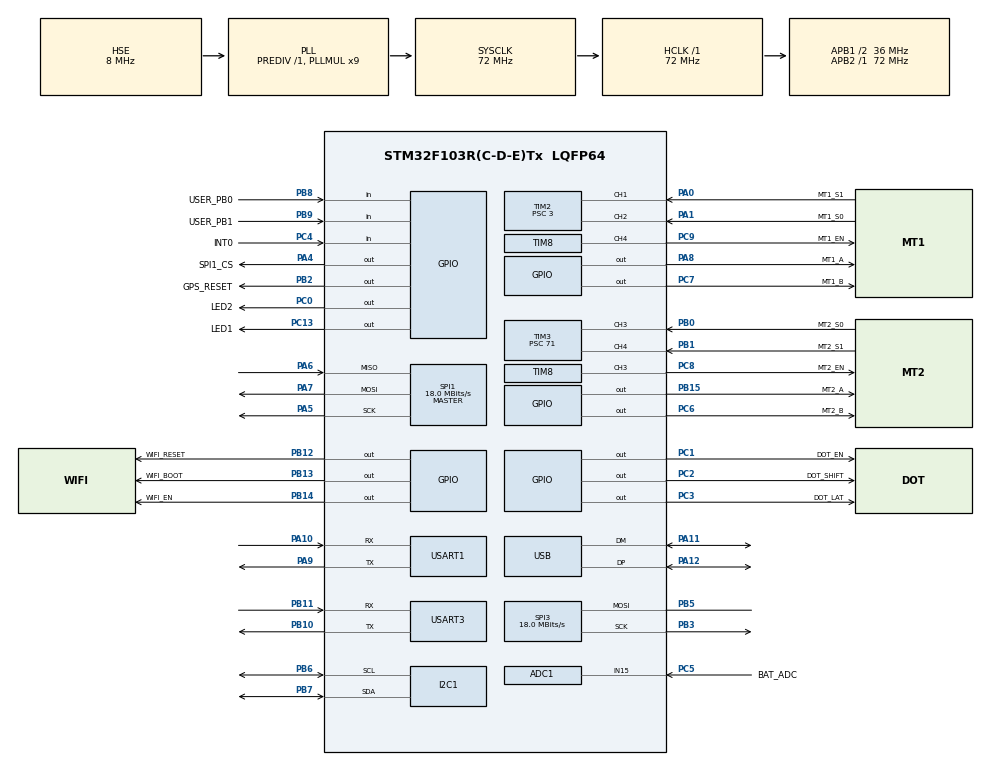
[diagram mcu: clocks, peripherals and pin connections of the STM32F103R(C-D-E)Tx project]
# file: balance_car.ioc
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ADC1.Channel-0\#ChannelRegularConversion=ADC_CHANNEL_15
ADC1.ContinuousConvMode=DISABLE
ADC1.DataAlign=ADC_DATAALIGN_RIGHT
ADC1.DiscontinuousConvMode=DISABLE
ADC1.EnableAnalogWatchDog=false
ADC1.EnableRegularConversion=ENABLE
ADC1.ExternalTrigConv=ADC_SOFTWARE_START
ADC1.InjNumberOfConversion=0
ADC1.NbrOfConversion=1
ADC1.NbrOfConversionFlag=1
ADC1.Rank-0\#ChannelRegularConversion=1
ADC1.SamplingTime-0\#ChannelRegularConversion=ADC_SAMPLETIME_1CYCLE_5
ADC1.ScanConvMode=ADC_SCAN_DISABLE
ADC1.master=1
Dma.Request0=USART1_RX
Dma.Request1=USART3_RX
Dma.Request2=USART1_TX
Dma.Request3=USART3_TX
Dma.USART1_RX.0.Direction=DMA_PERIPH_TO_MEMORY
Dma.USART1_RX.0.Instance=DMA1_Channel5
Dma.USART1_RX.0.MemDataAlignment=DMA_MDATAALIGN_BYTE
Dma.USART1_RX.0.MemInc=DMA_MINC_ENABLE
Dma.USART1_RX.0.Mode=DMA_NORMAL
Dma.USART1_RX.0.PeriphDataAlignment=DMA_PDATAALIGN_BYTE
Dma.USART1_RX.0.PeriphInc=DMA_PINC_DISABLE
Dma.USART1_RX.0.Priority=DMA_PRIORITY_LOW
Dma.USART1_TX.2.Direction=DMA_MEMORY_TO_PERIPH
Dma.USART1_TX.2.Instance=DMA1_Channel4
Dma.USART1_TX.2.MemDataAlignment=DMA_MDATAALIGN_BYTE
Dma.USART1_TX.2.MemInc=DMA_MINC_ENABLE
Dma.USART1_TX.2.Mode=DMA_NORMAL
Dma.USART1_TX.2.PeriphDataAlignment=DMA_PDATAALIGN_BYTE
Dma.USART1_TX.2.PeriphInc=DMA_PINC_DISABLE
Dma.USART1_TX.2.Priority=DMA_PRIORITY_LOW
Dma.USART3_RX.1.Direction=DMA_PERIPH_TO_MEMORY
Dma.USART3_RX.1.Instance=DMA1_Channel3
Dma.USART3_RX.1.MemDataAlignment=DMA_MDATAALIGN_BYTE
Dma.USART3_RX.1.MemInc=DMA_MINC_ENABLE
Dma.USART3_RX.1.Mode=DMA_NORMAL
Dma.USART3_RX.1.PeriphDataAlignment=DMA_PDATAALIGN_BYTE
Dma.USART3_RX.1.PeriphInc=DMA_PINC_DISABLE
Dma.USART3_RX.1.Priority=DMA_PRIORITY_LOW
Dma.USART3_TX.3.Direction=DMA_MEMORY_TO_PERIPH
Dma.USART3_TX.3.Instance=DMA1_Channel2
Dma.USART3_TX.3.MemDataAlignment=DMA_MDATAALIGN_BYTE
Dma.USART3_TX.3.MemInc=DMA_MINC_ENABLE
Dma.USART3_TX.3.Mode=DMA_NORMAL
Dma.USART3_TX.3.PeriphDataAlignment=DMA_PDATAALIGN_BYTE
Dma.USART3_TX.3.PeriphInc=DMA_PINC_DISABLE
Dma.USART3_TX.3.Priority=DMA_PRIORITY_LOW
Mcu.Family=STM32F1
Mcu.Name=STM32F103R(C-D-E)Tx
Mcu.Package=LQFP64
NVIC.DMA1_Channel2_IRQn=true\:0\:0\:true\:false\:true\:false
NVIC.DMA1_Channel3_IRQn=true\:0\:0\:true\:false\:true\:false
NVIC.DMA1_Channel4_IRQn=true\:0\:0\:false\:false\:true\:false
NVIC.DMA1_Channel5_IRQn=true\:0\:0\:true\:false\:true\:false
NVIC.PriorityGroup=NVIC_PRIORITYGROUP_4
NVIC.TIM1_UP_IRQn=true\:0\:0\:false\:false\:true\:false
NVIC.TIM2_IRQn=true\:5\:0\:true\:false\:true\:true
NVIC.TIM3_IRQn=true\:5\:0\:true\:false\:true\:true
NVIC.TIM6_IRQn=true\:0\:0\:false\:false\:true\:true
NVIC.TimeBase=TIM1_UP_IRQn
NVIC.TimeBaseIP=TIM1
NVIC.USART1_IRQn=true\:6\:0\:true\:false\:true\:true
NVIC.USART3_IRQn=true\:6\:0\:true\:false\:true\:true
NVIC.USB_LP_CAN1_RX0_IRQn=true\:0\:0\:false\:false\:true\:false
PA0-WKUP.GPIO_Label=MT1_S1
PA0-WKUP.Signal=S_TIM2_CH1_ETR
PA1.GPIO_Label=MT1_S0
PA1.Signal=S_TIM2_CH2
PA10.Mode=Asynchronous
PA10.Signal=USART1_RX
PA11.Mode=Device
PA11.Signal=USB_DM
PA12.Mode=Device
PA12.Signal=USB_DP
PA13.Mode=Serial_Wire
PA13.Signal=SYS_JTMS-SWDIO
PA14.Mode=Serial_Wire
PA14.Signal=SYS_JTCK-SWCLK
PA4.GPIO_Label=SPI1_CS
PA4.PinState=GPIO_PIN_SET
PA4.Signal=GPIO_Output
PA5.Mode=Full_Duplex_Master
PA5.Signal=SPI1_SCK
PA6.Mode=Full_Duplex_Master
PA6.Signal=SPI1_MISO
PA7.Mode=Full_Duplex_Master
PA7.Signal=SPI1_MOSI
PA8.GPIO_Label=MT1_A
PA8.Signal=GPIO_Output
PA9.Mode=Asynchronous
PA9.Signal=USART1_TX
PB0.GPIO_Label=MT2_S0
PB0.Signal=S_TIM3_CH3
PB1.GPIO_Label=MT2_S1
PB1.Signal=S_TIM3_CH4
PB10.Mode=Asynchronous
PB10.Signal=USART3_TX
PB11.Mode=Asynchronous
PB11.Signal=USART3_RX
PB12.GPIO_Label=WIFI_RESET
PB12.Signal=GPIO_Output
PB13.GPIO_Label=WIFI_BOOT
PB13.Signal=GPIO_Output
PB14.GPIO_Label=WIFI_EN
PB14.Signal=GPIO_Output
PB15.GPIO_Label=MT2_A
PB15.Signal=GPIO_Output
PB2.GPIO_Label=GPS_RESET
PB2.Signal=GPIO_Output
PB3.Mode=Simplex_Bidirectional_Master
PB3.Signal=SPI3_SCK
PB5.Mode=Simplex_Bidirectional_Master
PB5.Signal=SPI3_MOSI
PB6.Mode=I2C
PB6.Signal=I2C1_SCL
PB7.Mode=I2C
PB7.Signal=I2C1_SDA
PB8.GPIO_Label=USER_PB0
PB8.Signal=GPIO_Input
PB9.GPIO_Label=USER_PB1
PB9.Signal=GPIO_Input
PC0.GPIO_Label=LED2
PC0.Signal=GPIO_Output
PC1.GPIO_Label=DOT_EN
PC1.Signal=GPIO_Output
PC13-TAMPER-RTC.GPIO_Label=LED1
PC13-TAMPER-RTC.Signal=GPIO_Output
PC2.GPIO_Label=DOT_SHIFT
PC2.Signal=GPIO_Output
PC3.GPIO_Label=DOT_LAT
PC3.Signal=GPIO_Output
PC4.GPIO_Label=INT0
PC4.Signal=GPIO_Input
PC5.GPIO_Label=BAT_ADC
PC5.Signal=ADCx_IN15
PC6.GPIO_Label=MT2_B
PC6.Signal=GPIO_Output
PC7.GPIO_Label=MT1_B
PC7.Signal=GPIO_Output
PC8.GPIO_Label=MT2_EN
PC8.Signal=S_TIM8_CH3
PC9.GPIO_Label=MT1_EN
PC9.Signal=S_TIM8_CH4
PD0-OSC_IN.Mode=HSE-External-Oscillator
PD0-OSC_IN.Signal=RCC_OSC_IN
PD1-OSC_OUT.Mode=HSE-External-Oscillator
PD1-OSC_OUT.Signal=RCC_OSC_OUT
ProjectManager.HeapSize=0x1000
ProjectManager.StackSize=0x1000
ProjectManager.TargetToolchain=MDK-ARM V5
RCC.ADCPresc=RCC_ADCPCLK2_DIV6
RCC.AHBFreq_Value=72000000
RCC.APB1CLKDivider=RCC_HCLK_DIV2
RCC.APB1Freq_Value=36000000
RCC.APB1TimFreq_Value=72000000
RCC.APB2Freq_Value=72000000
RCC.APB2TimFreq_Value=72000000
RCC.HCLKFreq_Value=72000000
RCC.PLLMUL=RCC_PLL_MUL9
RCC.PLLSourceVirtual=RCC_PLLSOURCE_HSE
RCC.SYSCLKFreq_VALUE=72000000
RCC.SYSCLKSource=RCC_SYSCLKSOURCE_PLLCLK
RCC.USBFreq_Value=48000000
RCC.USBPrescaler=RCC_USBCLKSOURCE_PLL_DIV1_5
SH.ADCx_IN15.0=ADC1_IN15,IN15
SH.S_TIM2_CH1_ETR.0=TIM2_CH1,Encoder_Interface
SH.S_TIM2_CH2.0=TIM2_CH2,Encoder_Interface
SH.S_TIM3_CH3.0=TIM3_CH3,Input_Capture3_from_TI3
SH.S_TIM3_CH4.0=TIM3_CH4,Input_Capture4_from_TI4
SH.S_TIM8_CH3.0=TIM8_CH3,PWM Generation3 CH3
SH.S_TIM8_CH4.0=TIM8_CH4,PWM Generation4 CH4
SPI1.BaudRatePrescaler=SPI_BAUDRATEPRESCALER_4
SPI1.CLKPhase=SPI_PHASE_2EDGE
SPI1.CLKPolarity=SPI_POLARITY_HIGH
SPI1.CRCCalculation=SPI_CRCCALCULATION_DISABLE
SPI1.CalculateBaudRate=18.0 MBits/s
SPI1.Direction=SPI_DIRECTION_2LINES
SPI1.Mode=SPI_MODE_MASTER
SPI1.VirtualType=VM_MASTER
SPI3.BaudRatePrescaler=SPI_BAUDRATEPRESCALER_2
SPI3.CalculateBaudRate=18.0 MBits/s
SPI3.Direction=SPI_DIRECTION_1LINE
SPI3.Mode=SPI_MODE_MASTER
SPI3.VirtualType=VM_MASTER
TIM2.AutoReloadPreload=TIM_AUTORELOAD_PRELOAD_DISABLE
TIM2.EncoderMode=TIM_ENCODERMODE_TI12
TIM2.IC1Filter=15
TIM2.IC2Filter=15
TIM2.Period=65535
TIM2.Prescaler=3
TIM2.TIM_MasterSlaveMode=TIM_MASTERSLAVEMODE_DISABLE
TIM3.Channel-Input_Capture3_from_TI3=TIM_CHANNEL_3
TIM3.Channel-Input_Capture4_from_TI4=TIM_CHANNEL_4
TIM3.ICFilter_CH3=0
TIM3.ICFilter_CH4=0
TIM3.Period=39999
TIM3.Prescaler=71
TIM6.Period=9
TIM6.Prescaler=7199
TIM8.AutoReloadPreload=TIM_AUTORELOAD_PRELOAD_ENABLE
TIM8.Channel-PWM\ Generation3\ CH3=TIM_CHANNEL_3
TIM8.Channel-PWM\ Generation4\ CH4=TIM_CHANNEL_4
TIM8.Period=999
TIM8.Prescaler=5
USART1.VirtualMode=VM_ASYNC
USART3.VirtualMode=VM_ASYNC
USB_DEVICE.CLASS_NAME_FS=CDC
USB_DEVICE.VirtualMode=Cdc
USB_DEVICE.VirtualModeFS=Cdc_FS
VP_SYS_VS_tim1.Mode=TIM1
VP_TIM3_VS_ClockSourceINT.Mode=Internal
VP_TIM6_VS_ClockSourceINT.Mode=Enable_Timer
VP_USB_DEVICE_VS_USB_DEVICE_CDC_FS.Mode=CDC_FS
board=balance_car

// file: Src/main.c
/**
  ******************************************************************************
  * @file           : main.c
  * @brief          : Main program body
  ******************************************************************************
  * This notice applies to any and all portions of this file
  * that are not between comment pairs USER CODE BEGIN and
  * USER CODE END. Other portions of this file, whether
  * inserted by the user or by software development tools
  * are owned by their respective copyright owners.
  *
  * Copyright (c) 2018 STMicroelectronics International N.V.
  * All rights reserved.
  *
  * Redistribution and use in source and binary forms, with or without
  * modification, are permitted, provided that the following conditions are met:
  *
  * 1. Redistribution of source code must retain the above copyright notice,
  *    this list of conditions and the following disclaimer.
  * 2. Redistributions in binary form must reproduce the above copyright notice,
  *    this list of conditions and the following disclaimer in the documentation
  *    and/or other materials provided with the distribution.
  * 3. Neither the name of STMicroelectronics nor the names of other
  *    contributors to this software may be used to endorse or promote products
  *    derived from this software without specific written permission.
  * 4. This software, including modifications and/or derivative works of this
  *    software, must execute solely and exclusively on microcontroller or
  *    microprocessor devices manufactured by or for STMicroelectronics.
  * 5. Redistribution and use of this software other than as permitted under
  *    this license is void and will automatically terminate your rights under
  *    this license.
  *
  * THIS SOFTWARE IS PROVIDED BY STMICROELECTRONICS AND CONTRIBUTORS "AS IS"
  * AND ANY EXPRESS, IMPLIED OR STATUTORY WARRANTIES, INCLUDING, BUT NOT
  * LIMITED TO, THE IMPLIED WARRANTIES OF MERCHANTABILITY, FITNESS FOR A
  * PARTICULAR PURPOSE AND NON-INFRINGEMENT OF THIRD PARTY INTELLECTUAL PROPERTY
  * RIGHTS ARE DISCLAIMED TO THE FULLEST EXTENT PERMITTED BY LAW. IN NO EVENT
  * SHALL STMICROELECTRONICS OR CONTRIBUTORS BE LIABLE FOR ANY DIRECT, INDIRECT,
  * INCIDENTAL, SPECIAL, EXEMPLARY, OR CONSEQUENTIAL DAMAGES (INCLUDING, BUT NOT
  * LIMITED TO, PROCUREMENT OF SUBSTITUTE GOODS OR SERVICES; LOSS OF USE, DATA,
  * OR PROFITS; OR BUSINESS INTERRUPTION) HOWEVER CAUSED AND ON ANY THEORY OF
  * LIABILITY, WHETHER IN CONTRACT, STRICT LIABILITY, OR TORT (INCLUDING
  * NEGLIGENCE OR OTHERWISE) ARISING IN ANY WAY OUT OF THE USE OF THIS SOFTWARE,
  * EVEN IF ADVISED OF THE POSSIBILITY OF SUCH DAMAGE.
  *
  ******************************************************************************
  */
#include "main.h"
#include "stm32f1xx_hal.h"
#include "adc.h"
#include "dma.h"
#include "i2c.h"
#include "spi.h"
#include "tim.h"
#include "usart.h"
#include "usb_device.h"
#include "gpio.h"

/* USER CODE BEGIN Includes */
#include "common.h"
#include "esp8266.h"
#include "mpu9250.h"
#include "moto_ctrl.h"

extern uint32_t g_SysMode ;

/* USER CODE END Includes */

/* USER CODE BEGIN PV */
/* Private variables ---------------------------------------------------------*/

/* USER CODE END PV */

void SystemClock_Config(void);

/* USER CODE BEGIN PFP */
/* Private function prototypes -----------------------------------------------*/

/* USER CODE END PFP */

int main(void)
{

  /* MCU Configuration----------------------------------------------------------*/

  /* Reset of all peripherals, Initializes the Flash interface and the Systick. */
  HAL_Init();

  /* Configure the system clock */
  SystemClock_Config();

  /* Initialize all configured peripherals */
  MX_GPIO_Init();
  MX_DMA_Init();
  MX_USART1_UART_Init();
  MX_USART3_UART_Init();
  MX_ADC1_Init();
  MX_SPI1_Init();
  MX_I2C1_Init();
  MX_SPI3_Init();
  MX_TIM8_Init();
  MX_TIM3_Init();
  MX_TIM2_Init();
  MX_TIM6_Init();
  MX_USB_DEVICE_Init();
  /* USER CODE BEGIN 2 */
  ESP8266ModeCheck( );

	MPU9250_Init();
	SetWorkMode( g_SysMode );
//	HAL_TIM_Base_Start_IT(&htim2);
//	HAL_TIM_Base_Start_IT(&htim3);

//  HAL_TIM_IC_Start_IT(&htim2 , TIM_CHANNEL_1 );
//	HAL_TIM_IC_Start_IT(&htim2 , TIM_CHANNEL_2 );
//	HAL_TIM_IC_Start_IT(&htim3 , TIM_CHANNEL_3 );
//	HAL_TIM_IC_Start_IT(&htim3 , TIM_CHANNEL_4 );
  /* USER CODE END 2 */

  /* Infinite loop */
  /* USER CODE BEGIN WHILE */
//  left_forward( 700 );
//  right_forward( 700 );
  while (1)
  {
			UserTask();
//		HAL_Delay( 100 );
  /* USER CODE END WHILE */

  }

}

void SystemClock_Config(void)
{

  RCC_OscInitTypeDef RCC_OscInitStruct;
  RCC_ClkInitTypeDef RCC_ClkInitStruct;
  RCC_PeriphCLKInitTypeDef PeriphClkInit;

    /**Initializes the CPU, AHB and APB busses clocks
    */
  RCC_OscInitStruct.OscillatorType = RCC_OSCILLATORTYPE_HSE;
  RCC_OscInitStruct.HSEState = RCC_HSE_ON;
  RCC_OscInitStruct.HSEPredivValue = RCC_HSE_PREDIV_DIV1;
  RCC_OscInitStruct.HSIState = RCC_HSI_ON;
  RCC_OscInitStruct.PLL.PLLState = RCC_PLL_ON;
  RCC_OscInitStruct.PLL.PLLSource = RCC_PLLSOURCE_HSE;
  RCC_OscInitStruct.PLL.PLLMUL = RCC_PLL_MUL9;
  if (HAL_RCC_OscConfig(&RCC_OscInitStruct) != HAL_OK)
  {
    _Error_Handler(__FILE__, __LINE__);
  }

    /**Initializes the CPU, AHB and APB busses clocks
    */
  RCC_ClkInitStruct.ClockType = RCC_CLOCKTYPE_HCLK|RCC_CLOCKTYPE_SYSCLK
                              |RCC_CLOCKTYPE_PCLK1|RCC_CLOCKTYPE_PCLK2;
  RCC_ClkInitStruct.SYSCLKSource = RCC_SYSCLKSOURCE_PLLCLK;
  RCC_ClkInitStruct.AHBCLKDivider = RCC_SYSCLK_DIV1;
  RCC_ClkInitStruct.APB1CLKDivider = RCC_HCLK_DIV2;
  RCC_ClkInitStruct.APB2CLKDivider = RCC_HCLK_DIV1;

  if (HAL_RCC_ClockConfig(&RCC_ClkInitStruct, FLASH_LATENCY_2) != HAL_OK)
  {
    _Error_Handler(__FILE__, __LINE__);
  }

  PeriphClkInit.PeriphClockSelection = RCC_PERIPHCLK_ADC|RCC_PERIPHCLK_USB;
  PeriphClkInit.AdcClockSelection = RCC_ADCPCLK2_DIV6;
  PeriphClkInit.UsbClockSelection = RCC_USBCLKSOURCE_PLL_DIV1_5;
  if (HAL_RCCEx_PeriphCLKConfig(&PeriphClkInit) != HAL_OK)
  {
    _Error_Handler(__FILE__, __LINE__);
  }

    /**Configure the Systick interrupt time
    */
  HAL_SYSTICK_Config(HAL_RCC_GetHCLKFreq()/1000);

    /**Configure the Systick
    */
  HAL_SYSTICK_CLKSourceConfig(SYSTICK_CLKSOURCE_HCLK);

  /* SysTick_IRQn interrupt configuration */
  HAL_NVIC_SetPriority(SysTick_IRQn, 0, 0);
}

void HAL_TIM_PeriodElapsedCallback(TIM_HandleTypeDef *htim)
{

  if (htim->Instance == TIM1) {
    HAL_IncTick();
  }
  /* USER CODE BEGIN Callback 1 */
  else if (htim->Instance == TIM6) {

		int x=0;
    SystemTimer1msCallback(x);

  }
  else if (htim->Instance == TIM2) {
    SpeedCaptureTimeOut( 0 );
  }
  else if (htim->Instance == TIM3) {
    SpeedCaptureTimeOut( 1 );
  }

  /* USER CODE END Callback 1 */
}

void _Error_Handler(char *file, int line)
{
  while(1)
  {
  }
}

/************************ (C) COPYRIGHT STMicroelectronics *****END OF FILE****/
